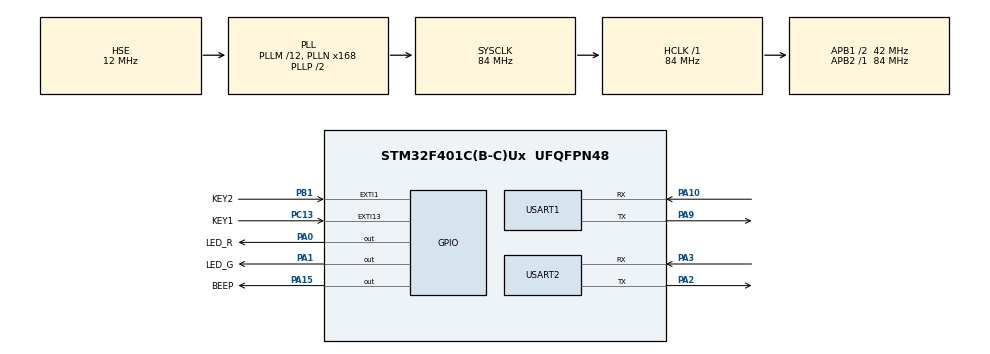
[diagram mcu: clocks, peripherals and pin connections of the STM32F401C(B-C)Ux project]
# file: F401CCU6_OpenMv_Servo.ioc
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Dma.Request0=USART1_RX
Dma.USART1_RX.0.Direction=DMA_PERIPH_TO_MEMORY
Dma.USART1_RX.0.FIFOMode=DMA_FIFOMODE_DISABLE
Dma.USART1_RX.0.Instance=DMA2_Stream2
Dma.USART1_RX.0.MemDataAlignment=DMA_MDATAALIGN_BYTE
Dma.USART1_RX.0.MemInc=DMA_MINC_ENABLE
Dma.USART1_RX.0.Mode=DMA_NORMAL
Dma.USART1_RX.0.PeriphDataAlignment=DMA_PDATAALIGN_BYTE
Dma.USART1_RX.0.PeriphInc=DMA_PINC_DISABLE
Dma.USART1_RX.0.Priority=DMA_PRIORITY_LOW
Mcu.Family=STM32F4
Mcu.Name=STM32F401C(B-C)Ux
Mcu.Package=UFQFPN48
NVIC.DMA2_Stream2_IRQn=true\:0\:0\:false\:false\:true\:false\:true\:true
NVIC.PriorityGroup=NVIC_PRIORITYGROUP_4
NVIC.TIM1_BRK_TIM9_IRQn=true\:0\:0\:false\:false\:true\:true\:true\:true
NVIC.USART1_IRQn=true\:0\:0\:false\:false\:true\:true\:true\:true
NVIC.USART2_IRQn=true\:0\:0\:false\:false\:true\:true\:true\:true
PA0-WKUP.GPIO_Label=LED_R
PA0-WKUP.Signal=GPIO_Output
PA1.GPIO_Label=LED_G
PA1.Signal=GPIO_Output
PA10.Mode=Asynchronous
PA10.Signal=USART1_RX
PA13.Mode=Serial_Wire
PA13.Signal=SYS_JTMS-SWDIO
PA14.Mode=Serial_Wire
PA14.Signal=SYS_JTCK-SWCLK
PA15.GPIO_Label=BEEP
PA15.Signal=GPIO_Output
PA2.Mode=Asynchronous
PA2.Signal=USART2_TX
PA3.Mode=Asynchronous
PA3.Signal=USART2_RX
PA9.Mode=Asynchronous
PA9.Signal=USART1_TX
PB1.GPIO_Label=KEY2
PB1.GPIO_ModeDefaultEXTI=GPIO_MODE_IT_FALLING
PB1.GPIO_PuPd=GPIO_PULLUP
PB1.Signal=GPXTI1
PC13-ANTI_TAMP.GPIO_Label=KEY1
PC13-ANTI_TAMP.GPIO_ModeDefaultEXTI=GPIO_MODE_IT_FALLING
PC13-ANTI_TAMP.GPIO_PuPd=GPIO_PULLUP
PC13-ANTI_TAMP.Signal=GPXTI13
PH0\ -\ OSC_IN.Mode=HSE-External-Oscillator
PH0\ -\ OSC_IN.Signal=RCC_OSC_IN
PH1\ -\ OSC_OUT.Mode=HSE-External-Oscillator
PH1\ -\ OSC_OUT.Signal=RCC_OSC_OUT
ProjectManager.HeapSize=0x2000
ProjectManager.StackSize=0xF00
ProjectManager.TargetToolchain=MDK-ARM V5.32
RCC.48MHZClocksFreq_Value=42000000
RCC.AHBFreq_Value=84000000
RCC.APB1CLKDivider=RCC_HCLK_DIV2
RCC.APB1Freq_Value=42000000
RCC.APB1TimFreq_Value=84000000
RCC.APB2Freq_Value=84000000
RCC.APB2TimFreq_Value=84000000
RCC.CortexFreq_Value=84000000
RCC.HCLKFreq_Value=84000000
RCC.HSE_VALUE=12000000
RCC.HSI_VALUE=16000000
RCC.LSE_VALUE=32768
RCC.PLLM=12
RCC.PLLN=168
RCC.PLLSourceVirtual=RCC_PLLSOURCE_HSE
RCC.SYSCLKFreq_VALUE=84000000
RCC.SYSCLKSource=RCC_SYSCLKSOURCE_PLLCLK
RCC.VCOOutputFreq_Value=168000000
USART1.VirtualMode=VM_ASYNC
USART2.VirtualMode=VM_ASYNC
VP_TIM9_VS_ClockSourceINT.Mode=Internal
board=custom

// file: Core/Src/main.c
/* USER CODE BEGIN Header */
/**
  ******************************************************************************
  * @file           : main.c
  * @brief          : Main program body
  ******************************************************************************
  * @attention
  *
  * Copyright (c) 2023 STMicroelectronics.
  * All rights reserved.
  *
  * This software is licensed under terms that can be found in the LICENSE file
  * in the root directory of this software component.
  * If no LICENSE file comes with this software, it is provided AS-IS.
  *
  ******************************************************************************
  */
/* USER CODE END Header */
#include "main.h"
#include "dma.h"
#include "tim.h"
#include "usart.h"
#include "gpio.h"

/* USER CODE BEGIN Includes */
#include "fashion_star_uart_servo.h"
#include "ring_buffer.h"
/* USER CODE END Includes */

/* USER CODE BEGIN PM */
uint8_t usart2SendBuf[USART_SEND_BUF_SIZE + 1];
uint8_t usart2RecvBuf[USART_RECV_BUF_SIZE + 1];
RingBufferTypeDef usart2SendRingBuf;
RingBufferTypeDef usart2RecvRingBuf;
Usart_DataTypeDef usart2;
extern uint8_t date;
/* USER CODE END PM */

void SystemClock_Config(void);
/* USER CODE BEGIN PFP */
uint8_t Rx_Buffer[15];
uint8_t Rx_sign=0;
int x=0,y=0;
/* USER CODE END PFP */

int main(void)
{
  /* USER CODE BEGIN 1 */
    uint8_t color_find=0;
    uint8_t direction=0;
    float kp1=0.025,ki1=0,kp2=0.025,ki2=0;
    static float angle_x=0,angle_y=0;
    static float dert_sum[2];
    uint8_t Beep_sign=0;
  /* USER CODE END 1 */

  /* MCU Configuration--------------------------------------------------------*/

  /* Reset of all peripherals, Initializes the Flash interface and the Systick. */
  HAL_Init();

  /* Configure the system clock */
  SystemClock_Config();

  /* Initialize all configured peripherals */
  MX_GPIO_Init();
  MX_DMA_Init();
  MX_TIM9_Init();
  MX_USART1_UART_Init();
  MX_USART2_UART_Init();
  /* USER CODE BEGIN 2 */
  usart2.pUSARTx = &huart2;
  // ��ʼ��������(���ζ���)
  RingBuffer_Init(&usart2SendRingBuf, USART_SEND_BUF_SIZE, usart2SendBuf);
  RingBuffer_Init(&usart2RecvRingBuf, USART_RECV_BUF_SIZE, usart2RecvBuf);
  usart2.recvBuf = &usart2RecvRingBuf;
  usart2.sendBuf = &usart2SendRingBuf;
  HAL_UART_Receive_IT(&huart2, &date, 1);
  HAL_Delay(100);
  BEEP_GPIO_Port->ODR^=BEEP_Pin;
  FSUS_SetServoAngle(&usart2, 1, 0, 200, 0, 0);
  HAL_Delay(100);
  FSUS_SetServoAngle(&usart2, 2, -5, 200, 0, 0);
  LED_R_GPIO_Port->ODR^=LED_R_Pin;
  LED_G_GPIO_Port->ODR^=LED_G_Pin;
  HAL_UART_Receive_DMA(&huart1,Rx_Buffer,14);
  while(1)
  {

      if(HAL_GPIO_ReadPin(KEY2_GPIO_Port,KEY2_Pin)==0)
      {
          while(HAL_GPIO_ReadPin(KEY2_GPIO_Port,KEY2_Pin)==0);
          FSUS_SetServoAngle(&usart2, 1, 30, 200, 0, 0);
          angle_x=30;
          HAL_Delay(50);
          FSUS_SetServoAngle(&usart2, 2, -10, 200, 0, 0);
          angle_y=-10;
          break;
      }
      if(HAL_GPIO_ReadPin(KEY3_GPIO_Port,KEY3_Pin)==0)
      {
          while(HAL_GPIO_ReadPin(KEY3_GPIO_Port,KEY3_Pin)==0);
          FSUS_SetServoAngle(&usart2, 1, -30, 200, 0, 0);
          angle_x=-30;
          HAL_Delay(50);
          FSUS_SetServoAngle(&usart2, 2, -10, 200, 0, 0);
          angle_y=-10;
          break;
      }
      HAL_Delay(10);
  }
  /* USER CODE END 2 */

  /* Infinite loop */
  while (1)
  {

    /* USER CODE BEGIN 3 */

      if(Rx_sign)
      {
          LED_R_GPIO_Port->ODR^=LED_R_Pin;
          if(x>=3||x<=-3)
          {
              angle_x-=x*kp1+dert_sum[0]*ki1;
              dert_sum[0]+=x;
              FSUS_SetServoAngle(&usart2, 1, angle_x, 50, 0, 0);
          }
          else
          {
              dert_sum[0]=0;
              Beep_sign++;
          }
          HAL_Delay(30);

          if(y>=3||y<=-3)
          {
              angle_y+=y*kp2+dert_sum[1]*ki2;
              dert_sum[1]+=y;
              FSUS_SetServoAngle(&usart2, 2, angle_y, 50, 0, 0);
          }
          else
          {
              dert_sum[1]=0;
              Beep_sign++;
          }

          if(Beep_sign>=2)
          {
              BEEP_GPIO_Port->ODR&=~BEEP_Pin;
              Beep_sign=0;
              LED_G_GPIO_Port->ODR&=~LED_G_Pin;
          }
          else
          {
              BEEP_GPIO_Port->ODR|=BEEP_Pin;

              LED_G_GPIO_Port->ODR|=LED_G_Pin;
          }
          Rx_sign=0;
          HAL_Delay(10);
      }
      HAL_Delay(20);
     if(HAL_GPIO_ReadPin(KEY1_GPIO_Port,KEY1_Pin)==0)
      {
          HAL_Delay(100);
          while(HAL_GPIO_ReadPin(KEY1_GPIO_Port,KEY1_Pin)==0);
          HAL_Delay(1000);
          while(HAL_GPIO_ReadPin(KEY1_GPIO_Port,KEY1_Pin)==1);
          HAL_Delay(1000);

      }
  }
  /* USER CODE END 3 */
}

void SystemClock_Config(void)
{
  RCC_OscInitTypeDef RCC_OscInitStruct = {0};
  RCC_ClkInitTypeDef RCC_ClkInitStruct = {0};

  /** Configure the main internal regulator output voltage
  */
  __HAL_RCC_PWR_CLK_ENABLE();
  __HAL_PWR_VOLTAGESCALING_CONFIG(PWR_REGULATOR_VOLTAGE_SCALE2);

  /** Initializes the RCC Oscillators according to the specified parameters
  * in the RCC_OscInitTypeDef structure.
  */
  RCC_OscInitStruct.OscillatorType = RCC_OSCILLATORTYPE_HSE;
  RCC_OscInitStruct.HSEState = RCC_HSE_ON;
  RCC_OscInitStruct.PLL.PLLState = RCC_PLL_ON;
  RCC_OscInitStruct.PLL.PLLSource = RCC_PLLSOURCE_HSE;
  RCC_OscInitStruct.PLL.PLLM = 12;
  RCC_OscInitStruct.PLL.PLLN = 168;
  RCC_OscInitStruct.PLL.PLLP = RCC_PLLP_DIV2;
  RCC_OscInitStruct.PLL.PLLQ = 4;
  if (HAL_RCC_OscConfig(&RCC_OscInitStruct) != HAL_OK)
  {
    Error_Handler();
  }

  /** Initializes the CPU, AHB and APB buses clocks
  */
  RCC_ClkInitStruct.ClockType = RCC_CLOCKTYPE_HCLK|RCC_CLOCKTYPE_SYSCLK
                              |RCC_CLOCKTYPE_PCLK1|RCC_CLOCKTYPE_PCLK2;
  RCC_ClkInitStruct.SYSCLKSource = RCC_SYSCLKSOURCE_PLLCLK;
  RCC_ClkInitStruct.AHBCLKDivider = RCC_SYSCLK_DIV1;
  RCC_ClkInitStruct.APB1CLKDivider = RCC_HCLK_DIV2;
  RCC_ClkInitStruct.APB2CLKDivider = RCC_HCLK_DIV1;

  if (HAL_RCC_ClockConfig(&RCC_ClkInitStruct, FLASH_LATENCY_2) != HAL_OK)
  {
    Error_Handler();
  }
}

void Error_Handler(void)
{
  __disable_irq();
  while (1)
  {
  }
}
